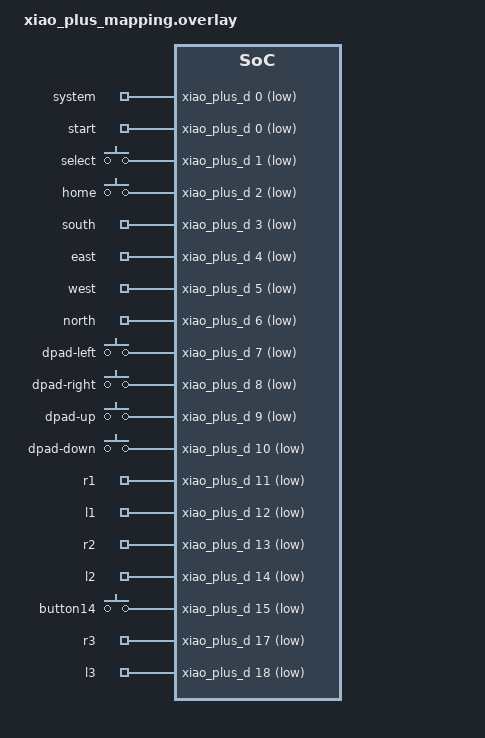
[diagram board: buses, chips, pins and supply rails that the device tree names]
// This overlay is for when a Xiao Plus board is used standalone, not as part of Flatbox rev7.2.

/ {
    gamepad-buttons {
        compatible = "gpio-keys";
        /* same as start */
        system { gpios = <&xiao_plus_d 0 (GPIO_PULL_UP | GPIO_ACTIVE_LOW)>; };
        start { gpios = <&xiao_plus_d 0 (GPIO_PULL_UP | GPIO_ACTIVE_LOW)>; };
        select { gpios = <&xiao_plus_d 1 (GPIO_PULL_UP | GPIO_ACTIVE_LOW)>; };
        home { gpios = <&xiao_plus_d 2 (GPIO_PULL_UP | GPIO_ACTIVE_LOW)>; };
        south { gpios = <&xiao_plus_d 3 (GPIO_PULL_UP | GPIO_ACTIVE_LOW)>; };
        east { gpios = <&xiao_plus_d 4 (GPIO_PULL_UP | GPIO_ACTIVE_LOW)>; };
        west { gpios = <&xiao_plus_d 5 (GPIO_PULL_UP | GPIO_ACTIVE_LOW)>; };
        north { gpios = <&xiao_plus_d 6 (GPIO_PULL_UP | GPIO_ACTIVE_LOW)>; };
        dpad-left { gpios = <&xiao_plus_d 7 (GPIO_PULL_UP | GPIO_ACTIVE_LOW)>; };
        dpad-right { gpios = <&xiao_plus_d 8 (GPIO_PULL_UP | GPIO_ACTIVE_LOW)>; };
        dpad-up { gpios = <&xiao_plus_d 9 (GPIO_PULL_UP | GPIO_ACTIVE_LOW)>; };
        dpad-down { gpios = <&xiao_plus_d 10 (GPIO_PULL_UP | GPIO_ACTIVE_LOW)>; };
        r1 { gpios = <&xiao_plus_d 11 (GPIO_PULL_UP | GPIO_ACTIVE_LOW)>; };
        l1 { gpios = <&xiao_plus_d 12 (GPIO_PULL_UP | GPIO_ACTIVE_LOW)>; };
        r2 { gpios = <&xiao_plus_d 13 (GPIO_PULL_UP | GPIO_ACTIVE_LOW)>; };
        l2 { gpios = <&xiao_plus_d 14 (GPIO_PULL_UP | GPIO_ACTIVE_LOW)>; };
        button14 { gpios = <&xiao_plus_d 15 (GPIO_PULL_UP | GPIO_ACTIVE_LOW)>; };
        // skip 16
        r3 { gpios = <&xiao_plus_d 17 (GPIO_PULL_UP | GPIO_ACTIVE_LOW)>; };
        l3 { gpios = <&xiao_plus_d 18 (GPIO_PULL_UP | GPIO_ACTIVE_LOW)>; };
    };
};
